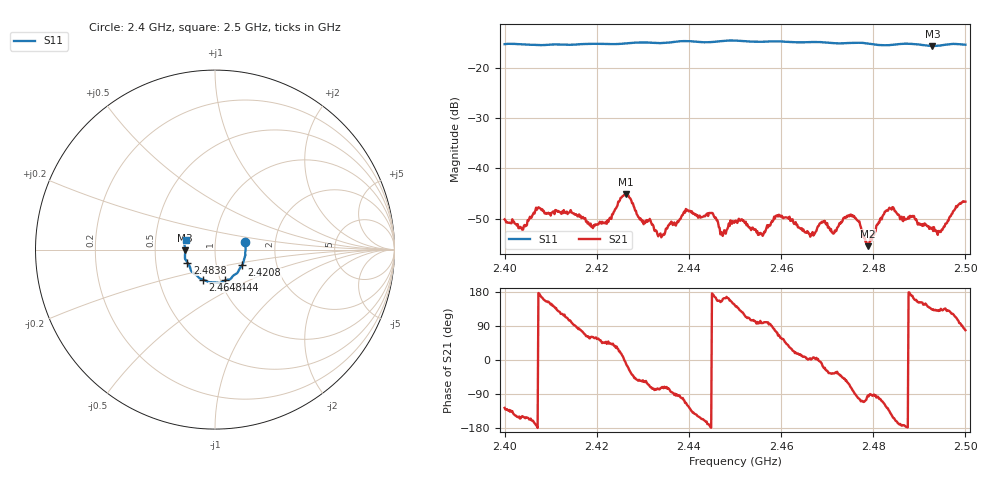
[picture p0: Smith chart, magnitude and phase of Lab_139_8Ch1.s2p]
# Hz S RI R 50
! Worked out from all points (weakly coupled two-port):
!   601 points, 2.4 GHz to 2.5 GHz, reference 50 ohm
!   highest |S21| = -45.20 dB at 2.4263 GHz (marker M1); lowest = -55.5 dB at 2.4788 GHz (marker M2)
!   lowest |S11| = -15.6 dB at 2.4928 GHz (marker M3), VSWR 1.40, Z = 35.8 - j0.358 ohm
!   |S11| at or under -10 dB: start of sweep to end of sweep
!   S12 and S22 are empty: the file has one direction only
!   S11 on the Smith chart (normalised r, x): 2.4 GHz: 1.40, +0.12; 2.4208 GHz: 1.33, -0.24; 2.444 GHz: 1.06, -0.37; 2.4648 GHz: 0.83, -0.29; 2.4838 GHz: 0.73, -0.11; 2.5 GHz: 0.72, +0.08
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2.4e9  0.1679 0.0412  -0.00184 -0.0025  0 0  0 0
2.404167e9  0.1706 0.0158  -0.00231 -0.00131  0 0  0 0
2.407333e9  0.169 -0.0122  -0.00409 0.000227  0 0  0 0
2.416667e9  0.159 -0.0682  0.000711 0.00312  0 0  0 0
2.420833e9  0.1507 -0.0871  0.00177 0.00227  0 0  0 0
2.426333e9  0.1321 -0.116  0.00542 -0.000892  0 0  0 0
2.433333e9  0.1077 -0.1403  0.000507 -0.00204  0 0  0 0
2.439333e9  0.0842 -0.1651  -0.00152 -0.00363  0 0  0 0
2.444e9  0.058 -0.171  -0.0035 -0.000671  0 0  0 0
2.447333e9  0.0357 -0.1823  -0.002 0.00071  0 0  0 0
2.45e9  0.0246 -0.186  -0.00241 0.00177  0 0  0 0
2.455667e9  -0.0119 -0.182  -0.000285 0.00223  0 0  0 0
2.459667e9  -0.0339 -0.1809  0.00153 0.00307  0 0  0 0
2.464833e9  -0.0684 -0.1669  0.00244 0.000361  0 0  0 0
2.466667e9  -0.0799 -0.1629  0.00219 0.000102  0 0  0 0
2.475333e9  -0.1242 -0.1271  0.000833 -0.00323  0 0  0 0
2.478833e9  -0.1357 -0.1107  -0.000105 -0.00168  0 0  0 0
2.483333e9  -0.1506 -0.0762  -0.00263 -0.00292  0 0  0 0
2.483833e9  -0.1534 -0.0721  -0.00312 -0.00244  0 0  0 0
2.492833e9  -0.1658 -0.00486  -0.00176 0.00189  0 0  0 0
2.4945e9  -0.1671 0.0129  -0.00151 0.00177  0 0  0 0
2.5e9  -0.1622 0.0528  0.000918 0.00457  0 0  0 0
